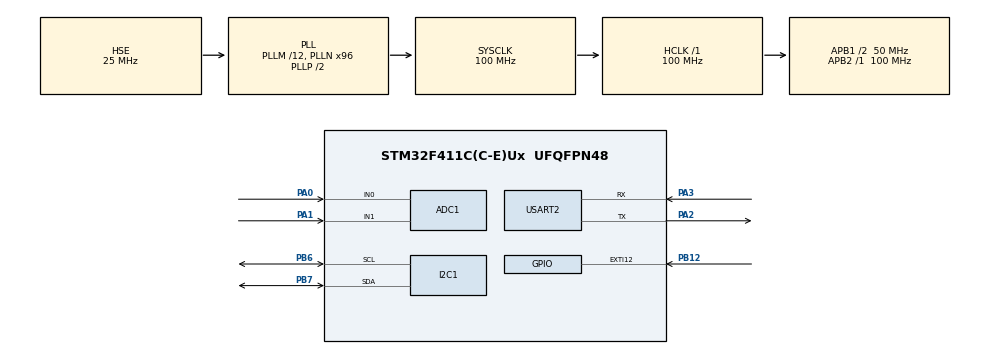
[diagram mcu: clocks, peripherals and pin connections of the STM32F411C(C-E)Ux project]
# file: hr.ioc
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ADC1.Channel-0\#ChannelRegularConversion=ADC_CHANNEL_0
ADC1.Channel-1\#ChannelRegularConversion=ADC_CHANNEL_1
ADC1.ContinuousConvMode=ENABLE
ADC1.NbrOfConversion=2
ADC1.NbrOfConversionFlag=1
ADC1.Rank-0\#ChannelRegularConversion=1
ADC1.Rank-1\#ChannelRegularConversion=2
ADC1.SamplingTime-0\#ChannelRegularConversion=ADC_SAMPLETIME_3CYCLES
ADC1.SamplingTime-1\#ChannelRegularConversion=ADC_SAMPLETIME_3CYCLES
ADC1.ScanConvMode=ENABLE
ADC1.master=1
Mcu.Family=STM32F4
Mcu.Name=STM32F411C(C-E)Ux
Mcu.Package=UFQFPN48
NVIC.ADC_IRQn=true\:0\:0\:false\:false\:true\:true\:true\:true
NVIC.I2C1_ER_IRQn=true\:0\:0\:false\:false\:true\:true\:true\:true
NVIC.I2C1_EV_IRQn=true\:0\:0\:false\:false\:true\:true\:true\:true
NVIC.PriorityGroup=NVIC_PRIORITYGROUP_4
PA0-WKUP.Signal=ADCx_IN0
PA1.Signal=ADCx_IN1
PA2.Mode=Asynchronous
PA2.Signal=USART2_TX
PA3.Mode=Asynchronous
PA3.Signal=USART2_RX
PB12.Signal=GPXTI12
PB6.Mode=I2C
PB6.Signal=I2C1_SCL
PB7.Mode=I2C
PB7.Signal=I2C1_SDA
PH0\ -\ OSC_IN.Mode=HSE-External-Oscillator
PH0\ -\ OSC_IN.Signal=RCC_OSC_IN
PH1\ -\ OSC_OUT.Mode=HSE-External-Oscillator
PH1\ -\ OSC_OUT.Signal=RCC_OSC_OUT
ProjectManager.HeapSize=0x200
ProjectManager.StackSize=0x400
ProjectManager.TargetToolchain=STM32CubeIDE
RCC.48MHZClocksFreq_Value=50000000
RCC.AHBFreq_Value=100000000
RCC.APB1CLKDivider=RCC_HCLK_DIV2
RCC.APB1Freq_Value=50000000
RCC.APB1TimFreq_Value=100000000
RCC.APB2Freq_Value=100000000
RCC.APB2TimFreq_Value=100000000
RCC.CortexFreq_Value=100000000
RCC.HCLKFreq_Value=100000000
RCC.HSE_VALUE=25000000
RCC.HSI_VALUE=16000000
RCC.LSE_VALUE=32768
RCC.PLLM=12
RCC.PLLN=96
RCC.PLLSourceVirtual=RCC_PLLSOURCE_HSE
RCC.SYSCLKFreq_VALUE=100000000
RCC.SYSCLKSource=RCC_SYSCLKSOURCE_PLLCLK
RCC.VCOOutputFreq_Value=200000000
SH.ADCx_IN0.0=ADC1_IN0,IN0
SH.ADCx_IN1.0=ADC1_IN1,IN1
USART2.VirtualMode=VM_ASYNC
VP_TIM4_VS_ClockSourceINT.Mode=Internal
board=custom

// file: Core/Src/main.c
/* USER CODE BEGIN Header */
/**
  ******************************************************************************
  * @file           : main.c
  * @brief          : Main program body
  ******************************************************************************
  * @attention
  *
  * <h2><center>&copy; Copyright (c) 2020 STMicroelectronics.
  * All rights reserved.</center></h2>
  *
  * This software component is licensed by ST under BSD 3-Clause license,
  * the "License"; You may not use this file except in compliance with the
  * License. You may obtain a copy of the License at:
  *                        opensource.org/licenses/BSD-3-Clause
  *
  ******************************************************************************
  */
/* USER CODE END Header */
#include "main.h"

/* USER CODE BEGIN Includes */
#include <stdbool.h>
#include <stdint.h>
#include <string.h>
#include "MAX30102.h"
#include "printf.h"
#include "algorithm_by_RF.h"
/* USER CODE END Includes */

/* USER CODE BEGIN PM */
#define MAX_BRIGHTNESS 		255U
#define MY_SNPRINTF 		snprintf	// newlib snprintf with float support is too heavy and not threadsafe so using local snprintf from printf.c
										// but this causes a compile warning that float support is off so use this macro to prevent it
#define FAKE_MAX30102_CLONE
/* USER CODE END PM */

ADC_HandleTypeDef hadc1;

I2C_HandleTypeDef hi2c1;

TIM_HandleTypeDef htim4;

UART_HandleTypeDef huart2;

/* USER CODE BEGIN PV */
static uint32_t aun_ir_buffer[BUFFER_SIZE]; //infrared LED sensor data
static uint32_t aun_red_buffer[BUFFER_SIZE];  //red LED sensor data
/* USER CODE END PV */

void SystemClock_Config(void);
static void MX_GPIO_Init(void);
static void MX_I2C1_Init(void);
static void MX_TIM4_Init(void);
static void MX_ADC1_Init(void);
static void MX_USART2_UART_Init(void);

/* USER CODE BEGIN 0 */
void SystemClock_Config(void);
static void MX_GPIO_Init(void);
static void MX_I2C1_Init(void);
static void MX_TIM4_Init(void);
static void MX_USART2_UART_Init(void);
/* USER CODE BEGIN PFP */
static void Max30102Setup(void);
static void Max30102Loop(void);
static void DebugPrint(const char *text);
void SetPwmDutyCycle(uint8_t percent);

/* USER CODE END PFP */

/* Private user code ---------------------------------------------------------*/
/* USER CODE BEGIN 0 */
static void DebugPrint(const char *text)
{
  HAL_UART_Transmit(&huart2, (uint8_t *)text, strlen(text), 100U);
}

void SetPwmDutyCycle(uint8_t percent)
{
  TIM_OC_InitTypeDef sConfigOC = {0};

  sConfigOC.OCMode = TIM_OCMODE_PWM1;
  sConfigOC.Pulse = percent * 5U;
  sConfigOC.OCPolarity = TIM_OCPOLARITY_HIGH;
  sConfigOC.OCFastMode = TIM_OCFAST_DISABLE;
  HAL_TIM_PWM_ConfigChannel(&htim4, &sConfigOC, TIM_CHANNEL_3);
  HAL_TIM_PWM_Start(&htim4, TIM_CHANNEL_3);
}
void Max30102Setup()
{
  uint8_t uch_dummy;

  maxim_max30102_reset();
  maxim_max30102_read_reg(REG_INTR_STATUS_1, &uch_dummy);  // reads/clears the interrupt status register
  maxim_max30102_init();
}
// Takes samples from MAX30102.  Heart rate and SpO2 are calculated every ST seconds
void Max30102Loop()
{
  char buf[20];
  float n_spo2;
  float ratio;
  float correl;
  int8_t ch_spo2_valid;  				// indicator to show if the SPO2 calculation is valid
  int32_t n_heart_rate; 				// heart rate value
  int8_t  ch_hr_valid;  				// indicator to show if the heart rate calculation is valid
  uint8_t i;
  static uint32_t un_min = 0x3FFFFUL;
  static uint32_t un_max = 0UL;
  static uint32_t un_prev_data = 0UL;  	// variables to calculate the on-board LED brightness that reflects the heartbeats
  static float f_brightness = 0UL;
  float f_temp;

  // buffer length of BUFFER_SIZE stores ST seconds of samples running at FS sps
  for (i = 0U; i < BUFFER_SIZE; i++)
  {
	while (HAL_GPIO_ReadPin(GPIOB, GPIO_PIN_12) == GPIO_PIN_SET);	// wait until the interrupt pin asserts

#ifdef FAKE_MAX30102_CLONE
    maxim_max30102_read_fifo((aun_ir_buffer + i), (aun_red_buffer + i));  // read from MAX30102 FIFO
#else
    maxim_max30102_read_fifo((aun_red_buffer + i), (aun_ir_buffer + i));  // read from MAX30102 FIFO
#endif
    // calculate LED brightness
    if (aun_red_buffer[i] > un_prev_data)
    {
      f_temp = aun_red_buffer[i] - un_prev_data;
      f_temp /= (un_max - un_min);
      f_temp *= MAX_BRIGHTNESS;
      f_brightness -= 2.0f * f_temp;
      if (f_brightness < 0.0f)
      {
        f_brightness = 0.0f;
         }
       }
       else
	    {
		  f_temp = un_prev_data - aun_red_buffer[i];
		  f_temp /= (un_max - un_min);
		  f_temp *= MAX_BRIGHTNESS;
		  f_brightness += 2.0f * f_temp;
		  if (f_brightness > (float)MAX_BRIGHTNESS)
		  {
			f_brightness = (float)MAX_BRIGHTNESS;
		  }
	    }

	    SetPwmDutyCycle((uint8_t)(f_brightness * 100.0f / 256.0f));
	    un_prev_data = aun_red_buffer[i];
	  }

	  un_min = 0x3FFFFUL;
	  un_max = 0UL;
	  for (i = 0U; i < BUFFER_SIZE; i++)
	  {
	    if (un_min > aun_red_buffer[i])
	    {
	      un_min = aun_red_buffer[i];    //update signal min for next cycle using values from this cycle
	    }
	    if (un_max < aun_red_buffer[i])
	    {
	      un_max = aun_red_buffer[i];    //update signal max for next cycle using values from this cycle
	    }
	  }

    // calculate heart rate and SpO2 after BUFFER_SIZE samples (ST seconds of samples) using Robert's method
    rf_heart_rate_and_oxygen_saturation(aun_ir_buffer, BUFFER_SIZE, aun_red_buffer, &n_spo2, &ch_spo2_valid, &n_heart_rate, &ch_hr_valid, &ratio, &correl);

    // display results
    rf_heart_rate_and_oxygen_saturation(aun_ir_buffer, BUFFER_SIZE, aun_red_buffer, &n_spo2, &ch_spo2_valid, &n_heart_rate, &ch_hr_valid, &ratio, &correl);

      // display results
      if (ch_hr_valid && ch_spo2_valid)
      {
        MY_SNPRINTF(buf, (size_t)20, "%3.1f\t", n_spo2);
        DebugPrint(buf);
        snprintf(buf, (size_t)20, "%d\r\n", n_heart_rate);
        DebugPrint(buf);
      }
      else
      {
        DebugPrint("Not valid. Are you still alive?\r\n");
      }
    }
void ADC_Select_CH0(void){
	ADC_ChannelConfTypeDef sConfig = {0};
	  sConfig.Channel = ADC_CHANNEL_0;
	  sConfig.Rank = 1;
	  sConfig.SamplingTime = ADC_SAMPLETIME_3CYCLES;
	  if (HAL_ADC_ConfigChannel(&hadc1, &sConfig) != HAL_OK)
	  {
	    Error_Handler();
	  }

}
void ADC_Select_CH1(void){
	ADC_ChannelConfTypeDef sConfig = {0};
	 sConfig.Channel = ADC_CHANNEL_1;
	  sConfig.Rank = 2;
	  sConfig.SamplingTime = ADC_SAMPLETIME_15CYCLES;
	  if (HAL_ADC_ConfigChannel(&hadc1, &sConfig) != HAL_OK)
	  {
	    Error_Handler();
	  }

}
/* USER CODE END 0 */

int main(void)
{

  /* MCU Configuration--------------------------------------------------------*/

  /* Reset of all peripherals, Initializes the Flash interface and the Systick. */
  HAL_Init();

  /* Configure the system clock */
  SystemClock_Config();

  /* Initialize all configured peripherals */
  MX_GPIO_Init();
  MX_I2C1_Init();
  MX_TIM4_Init();
  MX_ADC1_Init();
  MX_USART2_UART_Init();
  /* USER CODE BEGIN 2 */
  HAL_TIM_PWM_Start(&htim4, TIM_CHANNEL_3);
   Max30102Setup();
   uint16_t adc_val[2];

  /* USER CODE END 2 */

  /* Infinite loop */
  /* USER CODE BEGIN WHILE */
  while (1)
  {

Max30102Loop();

	  ADC_Select_CH1();
	  	 	  	      	  	         HAL_ADC_Start(&hadc1);
	  	 	  	      	  	      	   	HAL_ADC_PollForConversion(&hadc1, 100);

	  	 	  	      	  	      	   	adc_val[2]= HAL_ADC_GetValue(&hadc1);
	  	 	  	      	  	      	   	HAL_ADC_Stop(&hadc1);
	  	 	  	      	  	      	HAL_UART_Transmit(&huart2, "GLUCOSE: ", 9, 10);
	  	 	  	      	  	      	   print_char(adc_val[2]);
	  	 	  	      	   	HAL_GPIO_TogglePin(GPIOC, GPIO_PIN_13);
	  	 	  	      	ADC_Select_CH0();
	  	 	  	      		         HAL_ADC_Start(&hadc1);
	  	 	  	      		      	   	HAL_ADC_PollForConversion(&hadc1, 100);

	  	 	  	      		      	   	adc_val[1]= HAL_ADC_GetValue(&hadc1);
	  	 	  	      		      	   	HAL_ADC_Stop(&hadc1);
	  	 	  	      		      	   	temp_conv(adc_val[1]);

    /* USER CODE END WHILE */

  }
}

void SystemClock_Config(void)
{
  RCC_OscInitTypeDef RCC_OscInitStruct = {0};
  RCC_ClkInitTypeDef RCC_ClkInitStruct = {0};

  /** Configure the main internal regulator output voltage
  */
  __HAL_RCC_PWR_CLK_ENABLE();
  __HAL_PWR_VOLTAGESCALING_CONFIG(PWR_REGULATOR_VOLTAGE_SCALE1);

  /** Initializes the RCC Oscillators according to the specified parameters
  * in the RCC_OscInitTypeDef structure.
  */
  RCC_OscInitStruct.OscillatorType = RCC_OSCILLATORTYPE_HSE;
  RCC_OscInitStruct.HSEState = RCC_HSE_ON;
  RCC_OscInitStruct.PLL.PLLState = RCC_PLL_ON;
  RCC_OscInitStruct.PLL.PLLSource = RCC_PLLSOURCE_HSE;
  RCC_OscInitStruct.PLL.PLLM = 12;
  RCC_OscInitStruct.PLL.PLLN = 96;
  RCC_OscInitStruct.PLL.PLLP = RCC_PLLP_DIV2;
  RCC_OscInitStruct.PLL.PLLQ = 4;
  if (HAL_RCC_OscConfig(&RCC_OscInitStruct) != HAL_OK)
  {
    Error_Handler();
  }

  /** Initializes the CPU, AHB and APB buses clocks
  */
  RCC_ClkInitStruct.ClockType = RCC_CLOCKTYPE_HCLK|RCC_CLOCKTYPE_SYSCLK
                              |RCC_CLOCKTYPE_PCLK1|RCC_CLOCKTYPE_PCLK2;
  RCC_ClkInitStruct.SYSCLKSource = RCC_SYSCLKSOURCE_PLLCLK;
  RCC_ClkInitStruct.AHBCLKDivider = RCC_SYSCLK_DIV1;
  RCC_ClkInitStruct.APB1CLKDivider = RCC_HCLK_DIV2;
  RCC_ClkInitStruct.APB2CLKDivider = RCC_HCLK_DIV1;

  if (HAL_RCC_ClockConfig(&RCC_ClkInitStruct, FLASH_LATENCY_3) != HAL_OK)
  {
    Error_Handler();
  }
}

static void MX_ADC1_Init(void)
{

  ADC_ChannelConfTypeDef sConfig = {0};

  /** Configure the global features of the ADC (Clock, Resolution, Data Alignment and number of conversion)
  */
  hadc1.Instance = ADC1;
  hadc1.Init.ClockPrescaler = ADC_CLOCK_SYNC_PCLK_DIV4;
  hadc1.Init.Resolution = ADC_RESOLUTION_12B;
  hadc1.Init.ScanConvMode = ENABLE;
  hadc1.Init.ContinuousConvMode = ENABLE;
  hadc1.Init.DiscontinuousConvMode = DISABLE;
  hadc1.Init.ExternalTrigConvEdge = ADC_EXTERNALTRIGCONVEDGE_NONE;
  hadc1.Init.ExternalTrigConv = ADC_SOFTWARE_START;
  hadc1.Init.DataAlign = ADC_DATAALIGN_RIGHT;
  hadc1.Init.NbrOfConversion = 2;
  hadc1.Init.DMAContinuousRequests = DISABLE;
  hadc1.Init.EOCSelection = ADC_EOC_SINGLE_CONV;
  if (HAL_ADC_Init(&hadc1) != HAL_OK)
  {
    Error_Handler();
  }

  /** Configure for the selected ADC regular channel its corresponding rank in the sequencer and its sample time.
  */
  sConfig.Channel = ADC_CHANNEL_0;
  sConfig.Rank = 1;
  sConfig.SamplingTime = ADC_SAMPLETIME_3CYCLES;
  if (HAL_ADC_ConfigChannel(&hadc1, &sConfig) != HAL_OK)
  {
    Error_Handler();
  }

  /** Configure for the selected ADC regular channel its corresponding rank in the sequencer and its sample time.
  */
  sConfig.Channel = ADC_CHANNEL_1;
  sConfig.Rank = 2;
  if (HAL_ADC_ConfigChannel(&hadc1, &sConfig) != HAL_OK)
  {
    Error_Handler();
  }

}

static void MX_I2C1_Init(void)
{

  hi2c1.Instance = I2C1;
  hi2c1.Init.ClockSpeed = 100000;
  hi2c1.Init.DutyCycle = I2C_DUTYCYCLE_2;
  hi2c1.Init.OwnAddress1 = 0;
  hi2c1.Init.AddressingMode = I2C_ADDRESSINGMODE_7BIT;
  hi2c1.Init.DualAddressMode = I2C_DUALADDRESS_DISABLE;
  hi2c1.Init.OwnAddress2 = 0;
  hi2c1.Init.GeneralCallMode = I2C_GENERALCALL_DISABLE;
  hi2c1.Init.NoStretchMode = I2C_NOSTRETCH_DISABLE;
  if (HAL_I2C_Init(&hi2c1) != HAL_OK)
  {
    Error_Handler();
  }

}

static void MX_TIM4_Init(void)
{

  TIM_ClockConfigTypeDef sClockSourceConfig = {0};
  TIM_MasterConfigTypeDef sMasterConfig = {0};

  htim4.Instance = TIM4;
  htim4.Init.Prescaler = 0;
  htim4.Init.CounterMode = TIM_COUNTERMODE_UP;
  htim4.Init.Period = 65535;
  htim4.Init.ClockDivision = TIM_CLOCKDIVISION_DIV1;
  htim4.Init.AutoReloadPreload = TIM_AUTORELOAD_PRELOAD_DISABLE;
  if (HAL_TIM_Base_Init(&htim4) != HAL_OK)
  {
    Error_Handler();
  }
  sClockSourceConfig.ClockSource = TIM_CLOCKSOURCE_INTERNAL;
  if (HAL_TIM_ConfigClockSource(&htim4, &sClockSourceConfig) != HAL_OK)
  {
    Error_Handler();
  }
  sMasterConfig.MasterOutputTrigger = TIM_TRGO_RESET;
  sMasterConfig.MasterSlaveMode = TIM_MASTERSLAVEMODE_DISABLE;
  if (HAL_TIMEx_MasterConfigSynchronization(&htim4, &sMasterConfig) != HAL_OK)
  {
    Error_Handler();
  }

}

static void MX_USART2_UART_Init(void)
{

  huart2.Instance = USART2;
  huart2.Init.BaudRate = 115200;
  huart2.Init.WordLength = UART_WORDLENGTH_8B;
  huart2.Init.StopBits = UART_STOPBITS_1;
  huart2.Init.Parity = UART_PARITY_NONE;
  huart2.Init.Mode = UART_MODE_TX_RX;
  huart2.Init.HwFlowCtl = UART_HWCONTROL_NONE;
  huart2.Init.OverSampling = UART_OVERSAMPLING_16;
  if (HAL_UART_Init(&huart2) != HAL_OK)
  {
    Error_Handler();
  }

}

static void MX_GPIO_Init(void)
{
  GPIO_InitTypeDef GPIO_InitStruct = {0};

  /* GPIO Ports Clock Enable */
  __HAL_RCC_GPIOH_CLK_ENABLE();
  __HAL_RCC_GPIOA_CLK_ENABLE();
  __HAL_RCC_GPIOB_CLK_ENABLE();

  /*Configure GPIO pin : PB12 */
  GPIO_InitStruct.Pin = GPIO_PIN_12;
  GPIO_InitStruct.Mode = GPIO_MODE_IT_RISING;
  GPIO_InitStruct.Pull = GPIO_NOPULL;
  HAL_GPIO_Init(GPIOB, &GPIO_InitStruct);

}

/* USER CODE BEGIN 4 */
void temp_conv(uint16_t tempvar)
{
	uint32_t var=0;
	var=(tempvar*8.05);
	HAL_UART_Transmit(&huart2, "temp: ", 6, 10);
	print_char(var);

}
void print_char(uint32_t num_var) {
    uint8_t char_num_var[] = "0000000\r\n"; // Initialize as string
    uint8_t i = 6; // Index of least significant digit in char_num_var

    // Convert digits of num_var to ASCII characters
    do {
        i--; // Decrement index
        if (i == 3) {
            char_num_var[i] = '.'; // Insert '.' at index 3
            i--; // Decrement index
        }
        char_num_var[i] = (num_var % 10) + '0'; // Convert digit to ASCII and store
        num_var /= 10; // Remove least significant digit
    } while (num_var != 0 && i > 0); // Continue until num_var is 0 or array is full

    // Transmit the string via UART
    HAL_UART_Transmit(&huart2, char_num_var, 8, 15);
    HAL_Delay(1);
}

/* USER CODE END 4 */

void Error_Handler(void)
{
}
